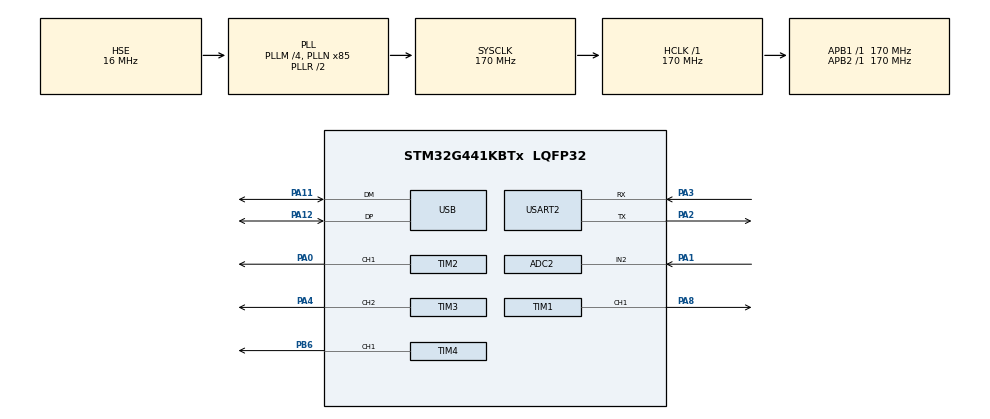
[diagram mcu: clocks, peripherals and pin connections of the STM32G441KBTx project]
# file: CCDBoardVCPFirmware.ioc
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ADC2.Channel-0\#ChannelRegularConversion=ADC_CHANNEL_2
ADC2.DMAContinuousRequests=ENABLE
ADC2.ExternalTrigConv=ADC_EXTERNALTRIG_T4_TRGO
ADC2.NbrOfConversionFlag=1
ADC2.OffsetNumber-0\#ChannelRegularConversion=ADC_OFFSET_NONE
ADC2.Rank-0\#ChannelRegularConversion=1
ADC2.SamplingTime-0\#ChannelRegularConversion=ADC_SAMPLETIME_2CYCLES_5
Dma.ADC2.0.Direction=DMA_PERIPH_TO_MEMORY
Dma.ADC2.0.EventEnable=ENABLE
Dma.ADC2.0.Instance=DMA1_Channel1
Dma.ADC2.0.MemDataAlignment=DMA_MDATAALIGN_WORD
Dma.ADC2.0.MemInc=DMA_MINC_ENABLE
Dma.ADC2.0.Mode=DMA_NORMAL
Dma.ADC2.0.PeriphDataAlignment=DMA_PDATAALIGN_HALFWORD
Dma.ADC2.0.PeriphInc=DMA_PINC_DISABLE
Dma.ADC2.0.Polarity=HAL_DMAMUX_REQ_GEN_RISING
Dma.ADC2.0.Priority=DMA_PRIORITY_LOW
Dma.ADC2.0.RequestNumber=1
Dma.ADC2.0.SignalID=NONE
Dma.ADC2.0.SyncEnable=DISABLE
Dma.ADC2.0.SyncPolarity=HAL_DMAMUX_SYNC_NO_EVENT
Dma.ADC2.0.SyncRequestNumber=1
Dma.ADC2.0.SyncSignalID=NONE
Dma.Request0=ADC2
Mcu.Family=STM32G4
Mcu.Name=STM32G441KBTx
Mcu.Package=LQFP32
NVIC.DMA1_Channel1_IRQn=true\:0\:0\:false\:false\:true\:false\:true\:true
NVIC.DMAMUX_OVR_IRQn=true\:0\:0\:false\:false\:true\:false\:true\:true
NVIC.PriorityGroup=NVIC_PRIORITYGROUP_4
NVIC.TIM2_IRQn=true\:0\:0\:false\:false\:true\:true\:true\:true
NVIC.USB_LP_IRQn=true\:0\:0\:false\:false\:true\:false\:true\:true
PA0.Signal=S_TIM2_CH1
PA1.Mode=IN2-Single-Ended
PA1.Signal=ADC2_IN2
PA11.Mode=Device
PA11.Signal=USB_DM
PA12.Mode=Device
PA12.Signal=USB_DP
PA13.Mode=Serial_Wire
PA13.Signal=SYS_JTMS-SWDIO
PA14.Mode=Serial_Wire
PA14.Signal=SYS_JTCK-SWCLK
PA2.Mode=Asynchronous
PA2.Signal=USART2_TX
PA3.Mode=Asynchronous
PA3.Signal=USART2_RX
PA4.Signal=S_TIM3_CH2
PA8.Signal=S_TIM1_CH1
PB6.Signal=S_TIM4_CH1
PF0-OSC_IN.Mode=HSE-External-Oscillator
PF0-OSC_IN.Signal=RCC_OSC_IN
PF1-OSC_OUT.Mode=HSE-External-Oscillator
PF1-OSC_OUT.Signal=RCC_OSC_OUT
ProjectManager.HeapSize=0x200
ProjectManager.StackSize=0x400
ProjectManager.TargetToolchain=STM32CubeIDE
RCC.ADC12Freq_Value=170000000
RCC.AHBFreq_Value=170000000
RCC.APB1Freq_Value=170000000
RCC.APB1TimFreq_Value=170000000
RCC.APB2Freq_Value=170000000
RCC.APB2TimFreq_Value=170000000
RCC.CK48CLockSelection=RCC_USBCLKSOURCE_HSI48
RCC.CortexFreq_Value=170000000
RCC.EXTERNAL_CLOCK_VALUE=12288000
RCC.HCLKFreq_Value=170000000
RCC.HSE_VALUE=16000000
RCC.HSI48_VALUE=48000000
RCC.HSI_VALUE=16000000
RCC.LSE_VALUE=32768
RCC.PLLM=RCC_PLLM_DIV4
RCC.PLLN=85
RCC.PLLSourceVirtual=RCC_PLLSOURCE_HSE
RCC.SYSCLKFreq_VALUE=170000000
RCC.SYSCLKSource=RCC_SYSCLKSOURCE_PLLCLK
RCC.USBFreq_Value=48000000
RCC.VCOOutputFreq_Value=340000000
SH.S_TIM1_CH1.0=TIM1_CH1,PWM Generation1 CH1
SH.S_TIM2_CH1.0=TIM2_CH1,PWM Generation1 CH1
SH.S_TIM3_CH2.0=TIM3_CH2,PWM Generation2 CH2
SH.S_TIM4_CH1.0=TIM4_CH1,PWM Generation1 CH1
TIM1.Channel-PWM\ Generation1\ CH1=TIM_CHANNEL_1
TIM1.OCPolarity_1=TIM_OCPOLARITY_LOW
TIM1.PeriodNoDither=25499
TIM1.Prescaler=49
TIM1.PulseNoDither_1=33
TIM1.TIM_MasterOutputTrigger=TIM_TRGO_ENABLE
TIM1.TIM_MasterOutputTrigger2=TIM_TRGO2_ENABLE
TIM2.Channel-PWM\ Generation1\ CH1=TIM_CHANNEL_1
TIM2.PeriodNoDither=3399
TIM2.PulseNoDither_1=679
TIM2.TIM_MasterSlaveMode=TIM_MASTERSLAVEMODE_ENABLE
TIM3.Channel-PWM\ Generation2\ CH2=TIM_CHANNEL_2
TIM3.PeriodNoDither=84
TIM3.PulseNoDither_2=42
TIM4.Channel-PWM\ Generation1\ CH1=TIM_CHANNEL_1
TIM4.PeriodNoDither=336
TIM4.PulseNoDither_1=42
TIM4.TIM_MasterOutputTrigger=TIM_TRGO_UPDATE
USART2.VirtualMode-Asynchronous=VM_ASYNC
USB_DEVICE.CLASS_NAME_FS=CDC
USB_DEVICE.USBD_LPM_ENABLED=0
USB_DEVICE.USBD_SELF_POWERED=0
USB_DEVICE.VirtualMode=Cdc
USB_DEVICE.VirtualModeFS=Cdc_FS
VP_SYS_VS_DBSignals.Mode=DisableDeadBatterySignals
VP_TIM1_VS_ClockSourceINT.Mode=Internal
VP_TIM2_VS_ClockSourceINT.Mode=Internal
VP_TIM2_VS_ClockSourceITR.Mode=TriggerSource_ITR0
VP_TIM2_VS_ControllerModeTrigger.Mode=Trigger Mode
VP_TIM3_VS_ClockSourceINT.Mode=Internal
VP_TIM4_VS_ClockSourceINT.Mode=Internal
VP_USB_DEVICE_VS_USB_DEVICE_CDC_FS.Mode=CDC_FS
board=custom

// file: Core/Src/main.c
/* USER CODE BEGIN Header */
/**
  ******************************************************************************
  * @file           : main.c
  * @brief          : Main program body
  ******************************************************************************
  * @attention
  *
  * Copyright (c) 2024 STMicroelectronics.
  * All rights reserved.
  *
  * This software is licensed under terms that can be found in the LICENSE file
  * in the root directory of this software component.
  * If no LICENSE file comes with this software, it is provided AS-IS.
  *
  ******************************************************************************
  */
/* USER CODE END Header */
#include "main.h"
#include "usb_device.h"

/* USER CODE BEGIN PD */
#define CCD_ARRAY_SIZE 3648
#define HID_PACKET_SIZE 64  // Standard HID packet size
#define HID_PAYLOAD_SIZE (HID_PACKET_SIZE - 1)  // 63 bytes for payload
#define HEADER_SEQ_MASK 0x0F
#define HEADER_ROLL_MASK 0xF0
#define MAX_USB_RETRIES 3
/* USER CODE END PD */

/* USER CODE BEGIN PM */
extern USBD_HandleTypeDef hUsbDeviceFS;
/* USER CODE END PM */

ADC_HandleTypeDef hadc2;
DMA_HandleTypeDef hdma_adc2;

TIM_HandleTypeDef htim1;
TIM_HandleTypeDef htim2;
TIM_HandleTypeDef htim3;
TIM_HandleTypeDef htim4;

UART_HandleTypeDef huart2;

/* USER CODE BEGIN PV */
const uint16_t MAGIC_START_MARKER = 0xbafa;
volatile uint32_t ccd_read_buffer[CCD_ARRAY_SIZE];
uint16_t data_buffer_to_send[CCD_ARRAY_SIZE];
volatile uint8_t conversion_complete = 0;

/* USER CODE END PV */

void SystemClock_Config(void);
static void MX_GPIO_Init(void);
static void MX_DMA_Init(void);
static void MX_ADC2_Init(void);
static void MX_TIM1_Init(void);
static void MX_TIM2_Init(void);
static void MX_TIM3_Init(void);
static void MX_TIM4_Init(void);
static void MX_USART2_UART_Init(void);

/* USER CODE BEGIN 0 */

//Interrupt handler for DMA to complete (which corresponds to full CCD array read)
void HAL_ADC_ConvCpltCallback(ADC_HandleTypeDef* hadc)
{
  if(hadc->Instance == ADC2)
  {
    conversion_complete = 1;

    // Stop TIM4 after conversion complete and disable triggering it

    // Disable all slave mode selections
    TIM_SlaveConfigTypeDef sSlaveConfig = {0};
    sSlaveConfig.SlaveMode = TIM_SLAVEMODE_DISABLE;

    // Set the desired input trigger source
    sSlaveConfig.InputTrigger = TIM_TS_ITR0;

    // Configure the timer with the new settings
    if (HAL_TIM_SlaveConfigSynchro(&htim4, &sSlaveConfig) != HAL_OK) {
        // Handle error
        Error_Handler();
    }

    HAL_TIM_PWM_Stop(&htim4, TIM_CHANNEL_1);

    // Stop the timer
    HAL_TIM_Base_Stop(&htim4);

    //Stop ADC DMA
    HAL_ADC_Stop_DMA(&hadc2);
  }
}

//Initiates a single CCD array read DMA run
static void EnableADCConversion(void)
{
	HAL_StatusTypeDef status = HAL_ADC_Start_DMA(&hadc2, (uint32_t*)ccd_read_buffer, CCD_ARRAY_SIZE);
	if (status != HAL_OK) {
	    // Handle error
	    Error_Handler();
	}

    TIM_MasterConfigTypeDef sMasterConfig = {0};
    sMasterConfig.MasterOutputTrigger = TIM_TRGO_UPDATE;
    sMasterConfig.MasterSlaveMode = TIM_MASTERSLAVEMODE_DISABLE;
    if (HAL_TIMEx_MasterConfigSynchronization(&htim4, &sMasterConfig) != HAL_OK)
    {
      Error_Handler();
    }

    TIM_OC_InitTypeDef sConfigOC = {0};
    sConfigOC.OCMode = TIM_OCMODE_PWM1;
    sConfigOC.Pulse = 42;
    sConfigOC.OCPolarity = TIM_OCPOLARITY_HIGH;
    sConfigOC.OCFastMode = TIM_OCFAST_DISABLE;

    HAL_TIM_PWM_ConfigChannel(&htim4, &sConfigOC, TIM_CHANNEL_1);

    // Set TIM4 into slave trigger mode driven by ICG driving  timer TIM1
    // TIM4 drives DMA conversion, so it will enable analog data conversion
    // and storing it into memory
    TIM_SlaveConfigTypeDef sSlaveConfig = {0};

    // Set the desired slave mode (e.g., Reset mode, Gated mode, etc.)
    sSlaveConfig.SlaveMode = TIM_SLAVEMODE_TRIGGER;

    // Set the desired input trigger source
    sSlaveConfig.InputTrigger = TIM_TS_ITR0;

    // Configure the timer with the new settings
    if (HAL_TIM_SlaveConfigSynchro(&htim4, &sSlaveConfig) != HAL_OK) {
        // Handle error
        Error_Handler();
    }

    // Since the timer is in slave mode, I expect this won't start generating PWM immediatelly
    // Instead it will wait until master event and start PWM after
    HAL_TIM_PWM_Start(&htim4, TIM_CHANNEL_1);
}

USBD_StatusTypeDef UsbDataAndCommandsExchangeLoop(uint16_t *data, uint16_t length) {
	CDC_Transmit_FS(data, length * sizeof(uint16_t));
    return USBD_OK;
}

void HAL_TIM_PeriodElapsedCallback(TIM_HandleTypeDef *htim)
{
  if(htim->Instance == TIM2)
  {
    // Re-configure Tim1 TRGO to Updateevent
	TIM_MasterConfigTypeDef sMasterConfig = {0};
	sMasterConfig.MasterOutputTrigger = TIM_TRGO_UPDATE;
	sMasterConfig.MasterSlaveMode = TIM_MASTERSLAVEMODE_ENABLE;

	HAL_StatusTypeDef status = HAL_TIMEx_MasterConfigSynchronization(&htim1, &sMasterConfig);
	if (status != HAL_OK)
	{
		// Handle error
		Error_Handler();
	}

	// Disable interrupt for Tim2
	HAL_TIM_Base_Stop_IT(&htim2);

	//Looks like trigger starts timer
	// TODO: Configure PWM without starting the timer
	//HAL_TIM_PWM_Start(&htim4, TIM_CHANNEL_1);

	// Start ADC conversion (also handles slave settings for tim4)
	EnableADCConversion();
  }
}

/*
void VREFBUF_Init(void)
{
    // Enable VREFBUF clock
    //__HAL_RCC_VREFBUF_CLK_ENABLE();
	RCC->APB1ENR1 |= RCC_APB1ENR1_VREFBUFCKEN;

    // Configure VREFBUF
    VREFBUF->CSR |= VREFBUF_CSR_ENVR;  // Enable VREFBUF
    VREFBUF->CSR &= ~VREFBUF_CSR_HIZ;  // Disable high impedance mode
    VREFBUF->CSR |= VREFBUF_CSR_VRS_1;   // Set voltage scale (e.g., 2.5V)

    // Wait for VREFBUF to stabilize
    while(!(VREFBUF->CSR & VREFBUF_CSR_VRR));
}

*/

/* USER CODE END 0 */

int main(void)
{

  /* MCU Configuration--------------------------------------------------------*/

  /* Reset of all peripherals, Initializes the Flash interface and the Systick. */
  HAL_Init();

  /* Configure the system clock */
  SystemClock_Config();

  /* USER CODE BEGIN SysInit */
  //VREFBUF_Init();
  /* USER CODE END SysInit */

  /* Initialize all configured peripherals */
  MX_GPIO_Init();
  MX_DMA_Init();
  MX_ADC2_Init();
  MX_TIM1_Init();
  MX_TIM2_Init();
  MX_TIM3_Init();
  MX_TIM4_Init();
  MX_USART2_UART_Init();
  MX_USB_Device_Init();
  /* USER CODE BEGIN 2 */
  HAL_TIM_PWM_Start(&htim1, TIM_CHANNEL_1);
  __HAL_TIM_SET_COUNTER(&htim1, 1); //850 ns delay
  HAL_TIM_Base_Start_IT(&htim2);
  HAL_TIM_PWM_Start(&htim2, TIM_CHANNEL_1);
  HAL_TIM_PWM_Start(&htim3, TIM_CHANNEL_2);
  htim3.Instance->CCR2 = 42;

  for (int i = 0; i < CCD_ARRAY_SIZE; ++i)
	  ccd_read_buffer[i] = 0xFFFFFFFF;

  /* USER CODE END 2 */

  /* Infinite loop */
  while (1)
  {

    /* USER CODE BEGIN 3 */
	if (conversion_complete)
	{
	  puts("Conversion batch completed!");

	  // Copy data from ccd_read_buffer to uart_send_buffer
	  data_buffer_to_send[0] = MAGIC_START_MARKER;
	  for (int i = 0; i < CCD_ARRAY_SIZE; ++i) {
		  data_buffer_to_send[i + 1] = (uint16_t)ccd_read_buffer[i];
	  }

	  /*
	  // Transmit data via UART
	  HAL_UART_Transmit(
			  &huart2,
			  (uint8_t*)uart_send_buffer,
			  (CCD_ARRAY_SIZE + 1) * sizeof(uint16_t),
			  HAL_MAX_DELAY);
	  */
	  USBD_StatusTypeDef send_result = UsbDataAndCommandsExchangeLoop(data_buffer_to_send, CCD_ARRAY_SIZE + 1);

	  if (send_result != USBD_OK)
		  puts("Error while sending the data over USB");
	  else
		  puts("Successfully sent the data over USB");

	  conversion_complete = 0;

	  // Enable next ADC conversion (will start on next timer event)
	  puts("Re-enabling ADC conversion");
	  EnableADCConversion();
	}
  }
  /* USER CODE END 3 */
}

void SystemClock_Config(void)
{
  RCC_OscInitTypeDef RCC_OscInitStruct = {0};
  RCC_ClkInitTypeDef RCC_ClkInitStruct = {0};

  /** Configure the main internal regulator output voltage
  */
  HAL_PWREx_ControlVoltageScaling(PWR_REGULATOR_VOLTAGE_SCALE1_BOOST);

  /** Initializes the RCC Oscillators according to the specified parameters
  * in the RCC_OscInitTypeDef structure.
  */
  RCC_OscInitStruct.OscillatorType = RCC_OSCILLATORTYPE_HSI48|RCC_OSCILLATORTYPE_HSE;
  RCC_OscInitStruct.HSEState = RCC_HSE_ON;
  RCC_OscInitStruct.HSI48State = RCC_HSI48_ON;
  RCC_OscInitStruct.PLL.PLLState = RCC_PLL_ON;
  RCC_OscInitStruct.PLL.PLLSource = RCC_PLLSOURCE_HSE;
  RCC_OscInitStruct.PLL.PLLM = RCC_PLLM_DIV4;
  RCC_OscInitStruct.PLL.PLLN = 85;
  RCC_OscInitStruct.PLL.PLLP = RCC_PLLP_DIV2;
  RCC_OscInitStruct.PLL.PLLQ = RCC_PLLQ_DIV2;
  RCC_OscInitStruct.PLL.PLLR = RCC_PLLR_DIV2;
  if (HAL_RCC_OscConfig(&RCC_OscInitStruct) != HAL_OK)
  {
    Error_Handler();
  }

  /** Initializes the CPU, AHB and APB buses clocks
  */
  RCC_ClkInitStruct.ClockType = RCC_CLOCKTYPE_HCLK|RCC_CLOCKTYPE_SYSCLK
                              |RCC_CLOCKTYPE_PCLK1|RCC_CLOCKTYPE_PCLK2;
  RCC_ClkInitStruct.SYSCLKSource = RCC_SYSCLKSOURCE_PLLCLK;
  RCC_ClkInitStruct.AHBCLKDivider = RCC_SYSCLK_DIV1;
  RCC_ClkInitStruct.APB1CLKDivider = RCC_HCLK_DIV1;
  RCC_ClkInitStruct.APB2CLKDivider = RCC_HCLK_DIV1;

  if (HAL_RCC_ClockConfig(&RCC_ClkInitStruct, FLASH_LATENCY_4) != HAL_OK)
  {
    Error_Handler();
  }
}

static void MX_ADC2_Init(void)
{

  ADC_ChannelConfTypeDef sConfig = {0};

  /** Common config
  */
  hadc2.Instance = ADC2;
  hadc2.Init.ClockPrescaler = ADC_CLOCK_SYNC_PCLK_DIV4;
  hadc2.Init.Resolution = ADC_RESOLUTION_12B;
  hadc2.Init.DataAlign = ADC_DATAALIGN_RIGHT;
  hadc2.Init.GainCompensation = 0;
  hadc2.Init.ScanConvMode = ADC_SCAN_DISABLE;
  hadc2.Init.EOCSelection = ADC_EOC_SINGLE_CONV;
  hadc2.Init.LowPowerAutoWait = DISABLE;
  hadc2.Init.ContinuousConvMode = DISABLE;
  hadc2.Init.NbrOfConversion = 1;
  hadc2.Init.DiscontinuousConvMode = DISABLE;
  hadc2.Init.ExternalTrigConv = ADC_EXTERNALTRIG_T4_TRGO;
  hadc2.Init.ExternalTrigConvEdge = ADC_EXTERNALTRIGCONVEDGE_RISING;
  hadc2.Init.DMAContinuousRequests = ENABLE;
  hadc2.Init.Overrun = ADC_OVR_DATA_PRESERVED;
  hadc2.Init.OversamplingMode = DISABLE;
  if (HAL_ADC_Init(&hadc2) != HAL_OK)
  {
    Error_Handler();
  }

  /** Configure Regular Channel
  */
  sConfig.Channel = ADC_CHANNEL_2;
  sConfig.Rank = ADC_REGULAR_RANK_1;
  sConfig.SamplingTime = ADC_SAMPLETIME_2CYCLES_5;
  sConfig.SingleDiff = ADC_SINGLE_ENDED;
  sConfig.OffsetNumber = ADC_OFFSET_NONE;
  sConfig.Offset = 0;
  if (HAL_ADC_ConfigChannel(&hadc2, &sConfig) != HAL_OK)
  {
    Error_Handler();
  }

}

static void MX_TIM1_Init(void)
{

  TIM_ClockConfigTypeDef sClockSourceConfig = {0};
  TIM_MasterConfigTypeDef sMasterConfig = {0};
  TIM_OC_InitTypeDef sConfigOC = {0};
  TIM_BreakDeadTimeConfigTypeDef sBreakDeadTimeConfig = {0};

  htim1.Instance = TIM1;
  htim1.Init.Prescaler = 49;
  htim1.Init.CounterMode = TIM_COUNTERMODE_UP;
  htim1.Init.Period = 25499;
  htim1.Init.ClockDivision = TIM_CLOCKDIVISION_DIV1;
  htim1.Init.RepetitionCounter = 0;
  htim1.Init.AutoReloadPreload = TIM_AUTORELOAD_PRELOAD_DISABLE;
  if (HAL_TIM_Base_Init(&htim1) != HAL_OK)
  {
    Error_Handler();
  }
  sClockSourceConfig.ClockSource = TIM_CLOCKSOURCE_INTERNAL;
  if (HAL_TIM_ConfigClockSource(&htim1, &sClockSourceConfig) != HAL_OK)
  {
    Error_Handler();
  }
  if (HAL_TIM_PWM_Init(&htim1) != HAL_OK)
  {
    Error_Handler();
  }
  sMasterConfig.MasterOutputTrigger = TIM_TRGO_ENABLE;
  sMasterConfig.MasterOutputTrigger2 = TIM_TRGO2_ENABLE;
  sMasterConfig.MasterSlaveMode = TIM_MASTERSLAVEMODE_DISABLE;
  if (HAL_TIMEx_MasterConfigSynchronization(&htim1, &sMasterConfig) != HAL_OK)
  {
    Error_Handler();
  }
  sConfigOC.OCMode = TIM_OCMODE_PWM1;
  sConfigOC.Pulse = 33;
  sConfigOC.OCPolarity = TIM_OCPOLARITY_LOW;
  sConfigOC.OCNPolarity = TIM_OCNPOLARITY_HIGH;
  sConfigOC.OCFastMode = TIM_OCFAST_DISABLE;
  sConfigOC.OCIdleState = TIM_OCIDLESTATE_RESET;
  sConfigOC.OCNIdleState = TIM_OCNIDLESTATE_RESET;
  if (HAL_TIM_PWM_ConfigChannel(&htim1, &sConfigOC, TIM_CHANNEL_1) != HAL_OK)
  {
    Error_Handler();
  }
  sBreakDeadTimeConfig.OffStateRunMode = TIM_OSSR_DISABLE;
  sBreakDeadTimeConfig.OffStateIDLEMode = TIM_OSSI_DISABLE;
  sBreakDeadTimeConfig.LockLevel = TIM_LOCKLEVEL_OFF;
  sBreakDeadTimeConfig.DeadTime = 0;
  sBreakDeadTimeConfig.BreakState = TIM_BREAK_DISABLE;
  sBreakDeadTimeConfig.BreakPolarity = TIM_BREAKPOLARITY_HIGH;
  sBreakDeadTimeConfig.BreakFilter = 0;
  sBreakDeadTimeConfig.BreakAFMode = TIM_BREAK_AFMODE_INPUT;
  sBreakDeadTimeConfig.Break2State = TIM_BREAK2_DISABLE;
  sBreakDeadTimeConfig.Break2Polarity = TIM_BREAK2POLARITY_HIGH;
  sBreakDeadTimeConfig.Break2Filter = 0;
  sBreakDeadTimeConfig.Break2AFMode = TIM_BREAK_AFMODE_INPUT;
  sBreakDeadTimeConfig.AutomaticOutput = TIM_AUTOMATICOUTPUT_DISABLE;
  if (HAL_TIMEx_ConfigBreakDeadTime(&htim1, &sBreakDeadTimeConfig) != HAL_OK)
  {
    Error_Handler();
  }
  HAL_TIM_MspPostInit(&htim1);

}

static void MX_TIM2_Init(void)
{

  TIM_ClockConfigTypeDef sClockSourceConfig = {0};
  TIM_SlaveConfigTypeDef sSlaveConfig = {0};
  TIM_MasterConfigTypeDef sMasterConfig = {0};
  TIM_OC_InitTypeDef sConfigOC = {0};

  htim2.Instance = TIM2;
  htim2.Init.Prescaler = 0;
  htim2.Init.CounterMode = TIM_COUNTERMODE_UP;
  htim2.Init.Period = 3399;
  htim2.Init.ClockDivision = TIM_CLOCKDIVISION_DIV1;
  htim2.Init.AutoReloadPreload = TIM_AUTORELOAD_PRELOAD_DISABLE;
  if (HAL_TIM_Base_Init(&htim2) != HAL_OK)
  {
    Error_Handler();
  }
  sClockSourceConfig.ClockSource = TIM_CLOCKSOURCE_INTERNAL;
  if (HAL_TIM_ConfigClockSource(&htim2, &sClockSourceConfig) != HAL_OK)
  {
    Error_Handler();
  }
  if (HAL_TIM_PWM_Init(&htim2) != HAL_OK)
  {
    Error_Handler();
  }
  sSlaveConfig.SlaveMode = TIM_SLAVEMODE_TRIGGER;
  sSlaveConfig.InputTrigger = TIM_TS_ITR0;
  if (HAL_TIM_SlaveConfigSynchro(&htim2, &sSlaveConfig) != HAL_OK)
  {
    Error_Handler();
  }
  sMasterConfig.MasterOutputTrigger = TIM_TRGO_RESET;
  sMasterConfig.MasterSlaveMode = TIM_MASTERSLAVEMODE_ENABLE;
  if (HAL_TIMEx_MasterConfigSynchronization(&htim2, &sMasterConfig) != HAL_OK)
  {
    Error_Handler();
  }
  sConfigOC.OCMode = TIM_OCMODE_PWM1;
  sConfigOC.Pulse = 679;
  sConfigOC.OCPolarity = TIM_OCPOLARITY_HIGH;
  sConfigOC.OCFastMode = TIM_OCFAST_DISABLE;
  if (HAL_TIM_PWM_ConfigChannel(&htim2, &sConfigOC, TIM_CHANNEL_1) != HAL_OK)
  {
    Error_Handler();
  }
  HAL_TIM_MspPostInit(&htim2);

}

static void MX_TIM3_Init(void)
{

  TIM_ClockConfigTypeDef sClockSourceConfig = {0};
  TIM_MasterConfigTypeDef sMasterConfig = {0};
  TIM_OC_InitTypeDef sConfigOC = {0};

  htim3.Instance = TIM3;
  htim3.Init.Prescaler = 0;
  htim3.Init.CounterMode = TIM_COUNTERMODE_UP;
  htim3.Init.Period = 84;
  htim3.Init.ClockDivision = TIM_CLOCKDIVISION_DIV1;
  htim3.Init.AutoReloadPreload = TIM_AUTORELOAD_PRELOAD_DISABLE;
  if (HAL_TIM_Base_Init(&htim3) != HAL_OK)
  {
    Error_Handler();
  }
  sClockSourceConfig.ClockSource = TIM_CLOCKSOURCE_INTERNAL;
  if (HAL_TIM_ConfigClockSource(&htim3, &sClockSourceConfig) != HAL_OK)
  {
    Error_Handler();
  }
  if (HAL_TIM_PWM_Init(&htim3) != HAL_OK)
  {
    Error_Handler();
  }
  sMasterConfig.MasterOutputTrigger = TIM_TRGO_RESET;
  sMasterConfig.MasterSlaveMode = TIM_MASTERSLAVEMODE_DISABLE;
  if (HAL_TIMEx_MasterConfigSynchronization(&htim3, &sMasterConfig) != HAL_OK)
  {
    Error_Handler();
  }
  sConfigOC.OCMode = TIM_OCMODE_PWM1;
  sConfigOC.Pulse = 42;
  sConfigOC.OCPolarity = TIM_OCPOLARITY_HIGH;
  sConfigOC.OCFastMode = TIM_OCFAST_DISABLE;
  if (HAL_TIM_PWM_ConfigChannel(&htim3, &sConfigOC, TIM_CHANNEL_2) != HAL_OK)
  {
    Error_Handler();
  }
  HAL_TIM_MspPostInit(&htim3);

}

static void MX_TIM4_Init(void)
{

  TIM_ClockConfigTypeDef sClockSourceConfig = {0};
  TIM_MasterConfigTypeDef sMasterConfig = {0};
  TIM_OC_InitTypeDef sConfigOC = {0};

  htim4.Instance = TIM4;
  htim4.Init.Prescaler = 0;
  htim4.Init.CounterMode = TIM_COUNTERMODE_UP;
  htim4.Init.Period = 336;
  htim4.Init.ClockDivision = TIM_CLOCKDIVISION_DIV1;
  htim4.Init.AutoReloadPreload = TIM_AUTORELOAD_PRELOAD_DISABLE;
  if (HAL_TIM_Base_Init(&htim4) != HAL_OK)
  {
    Error_Handler();
  }
  sClockSourceConfig.ClockSource = TIM_CLOCKSOURCE_INTERNAL;
  if (HAL_TIM_ConfigClockSource(&htim4, &sClockSourceConfig) != HAL_OK)
  {
    Error_Handler();
  }
  if (HAL_TIM_PWM_Init(&htim4) != HAL_OK)
  {
    Error_Handler();
  }
  sMasterConfig.MasterOutputTrigger = TIM_TRGO_UPDATE;
  sMasterConfig.MasterSlaveMode = TIM_MASTERSLAVEMODE_DISABLE;
  if (HAL_TIMEx_MasterConfigSynchronization(&htim4, &sMasterConfig) != HAL_OK)
  {
    Error_Handler();
  }
  sConfigOC.OCMode = TIM_OCMODE_PWM1;
  sConfigOC.Pulse = 42;
  sConfigOC.OCPolarity = TIM_OCPOLARITY_HIGH;
  sConfigOC.OCFastMode = TIM_OCFAST_DISABLE;
  if (HAL_TIM_PWM_ConfigChannel(&htim4, &sConfigOC, TIM_CHANNEL_1) != HAL_OK)
  {
    Error_Handler();
  }
  HAL_TIM_MspPostInit(&htim4);

}

static void MX_USART2_UART_Init(void)
{

  huart2.Instance = USART2;
  huart2.Init.BaudRate = 115200;
  huart2.Init.WordLength = UART_WORDLENGTH_8B;
  huart2.Init.StopBits = UART_STOPBITS_1;
  huart2.Init.Parity = UART_PARITY_NONE;
  huart2.Init.Mode = UART_MODE_TX_RX;
  huart2.Init.HwFlowCtl = UART_HWCONTROL_NONE;
  huart2.Init.OverSampling = UART_OVERSAMPLING_16;
  huart2.Init.OneBitSampling = UART_ONE_BIT_SAMPLE_DISABLE;
  huart2.Init.ClockPrescaler = UART_PRESCALER_DIV1;
  huart2.AdvancedInit.AdvFeatureInit = UART_ADVFEATURE_NO_INIT;
  if (HAL_UART_Init(&huart2) != HAL_OK)
  {
    Error_Handler();
  }
  if (HAL_UARTEx_SetTxFifoThreshold(&huart2, UART_TXFIFO_THRESHOLD_1_8) != HAL_OK)
  {
    Error_Handler();
  }
  if (HAL_UARTEx_SetRxFifoThreshold(&huart2, UART_RXFIFO_THRESHOLD_1_8) != HAL_OK)
  {
    Error_Handler();
  }
  if (HAL_UARTEx_DisableFifoMode(&huart2) != HAL_OK)
  {
    Error_Handler();
  }

}

static void MX_DMA_Init(void)
{

  /* DMA controller clock enable */
  __HAL_RCC_DMAMUX1_CLK_ENABLE();
  __HAL_RCC_DMA1_CLK_ENABLE();

  /* DMA interrupt init */
  /* DMA1_Channel1_IRQn interrupt configuration */
  HAL_NVIC_SetPriority(DMA1_Channel1_IRQn, 0, 0);
  HAL_NVIC_EnableIRQ(DMA1_Channel1_IRQn);
  /* DMAMUX_OVR_IRQn interrupt configuration */
  HAL_NVIC_SetPriority(DMAMUX_OVR_IRQn, 0, 0);
  HAL_NVIC_EnableIRQ(DMAMUX_OVR_IRQn);

}

static void MX_GPIO_Init(void)
{

  /* GPIO Ports Clock Enable */
  __HAL_RCC_GPIOF_CLK_ENABLE();
  __HAL_RCC_GPIOA_CLK_ENABLE();
  __HAL_RCC_GPIOB_CLK_ENABLE();

}

void Error_Handler(void)
{
  __disable_irq();
  while (1)
  {
  }
}
